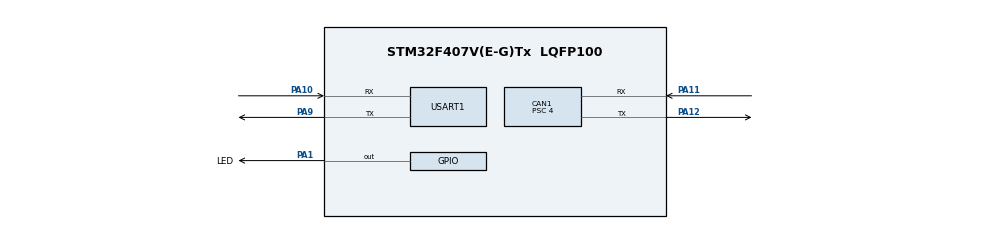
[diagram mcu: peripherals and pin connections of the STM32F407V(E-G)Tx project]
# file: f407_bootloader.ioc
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CAN1.ABOM=ENABLE
CAN1.BS1=CAN_BS1_13TQ
CAN1.BS2=CAN_BS2_2TQ
CAN1.CalculateBaudRate=500000
CAN1.CalculateTimeBit=2000
CAN1.CalculateTimeQuantum=125.0
CAN1.Prescaler=4
CAN1.TXFP=ENABLE
Dma.Request0=USART1_RX
Dma.Request1=USART1_TX
Dma.USART1_RX.0.Direction=DMA_PERIPH_TO_MEMORY
Dma.USART1_RX.0.FIFOMode=DMA_FIFOMODE_DISABLE
Dma.USART1_RX.0.Instance=DMA2_Stream2
Dma.USART1_RX.0.MemDataAlignment=DMA_MDATAALIGN_BYTE
Dma.USART1_RX.0.MemInc=DMA_MINC_ENABLE
Dma.USART1_RX.0.Mode=DMA_NORMAL
Dma.USART1_RX.0.PeriphDataAlignment=DMA_PDATAALIGN_BYTE
Dma.USART1_RX.0.PeriphInc=DMA_PINC_DISABLE
Dma.USART1_RX.0.Priority=DMA_PRIORITY_LOW
Dma.USART1_TX.1.Direction=DMA_MEMORY_TO_PERIPH
Dma.USART1_TX.1.FIFOMode=DMA_FIFOMODE_DISABLE
Dma.USART1_TX.1.Instance=DMA2_Stream7
Dma.USART1_TX.1.MemDataAlignment=DMA_MDATAALIGN_BYTE
Dma.USART1_TX.1.MemInc=DMA_MINC_ENABLE
Dma.USART1_TX.1.Mode=DMA_NORMAL
Dma.USART1_TX.1.PeriphDataAlignment=DMA_PDATAALIGN_BYTE
Dma.USART1_TX.1.PeriphInc=DMA_PINC_DISABLE
Dma.USART1_TX.1.Priority=DMA_PRIORITY_LOW
FREERTOS.BinarySemaphores01=xSharedDataMutex,Dynamic,NULL
FREERTOS.HEAP_NUMBER=3
FREERTOS.Queues01=xCAN1RxQueue,10,CanMsg,0,Dynamic,NULL,NULL;xUsartDbgTxQueue,5,char,0,Dynamic,NULL,NULL
FREERTOS.Tasks01=CAN1RxTask,0,512,StartCAN1RxTask,Default,pSharedInterface,Dynamic,NULL,NULL;UsartDbgTxTask,-3,256,StartUsartDbgTxTask,Default,pSharedInterface,Dynamic,NULL,NULL
FREERTOS.configUSE_NEWLIB_REENTRANT=1
Mcu.Family=STM32F4
Mcu.Name=STM32F407V(E-G)Tx
Mcu.Package=LQFP100
NVIC.CAN1_RX0_IRQn=true\:5\:0\:false\:false\:true\:true\:true\:true\:true
NVIC.CAN1_SCE_IRQn=true\:5\:0\:false\:false\:true\:true\:true\:true\:true
NVIC.DMA2_Stream2_IRQn=true\:5\:0\:false\:false\:true\:true\:false\:true\:true
NVIC.DMA2_Stream7_IRQn=true\:5\:0\:false\:false\:true\:true\:false\:true\:true
NVIC.PriorityGroup=NVIC_PRIORITYGROUP_4
NVIC.TIM5_IRQn=true\:15\:0\:false\:false\:true\:false\:false\:true\:true
NVIC.TimeBase=TIM5_IRQn
NVIC.TimeBaseIP=TIM5
NVIC.USART1_IRQn=true\:5\:0\:false\:false\:true\:true\:true\:true\:true
PA1.GPIO_Label=LED
PA1.Signal=GPIO_Output
PA10.Mode=Asynchronous
PA10.Signal=USART1_RX
PA11.Mode=CAN_Activate
PA11.Signal=CAN1_RX
PA12.Mode=CAN_Activate
PA12.Signal=CAN1_TX
PA13.Mode=Serial_Wire
PA13.Signal=SYS_JTMS-SWDIO
PA14.Mode=Serial_Wire
PA14.Signal=SYS_JTCK-SWCLK
PA9.Mode=Asynchronous
PA9.Signal=USART1_TX
ProjectManager.HeapSize=0x200
ProjectManager.StackSize=0x400
ProjectManager.TargetToolchain=STM32CubeIDE
RCC.48MHZClocksFreq_Value=64000000
RCC.AHBFreq_Value=128000000
RCC.APB1CLKDivider=RCC_HCLK_DIV4
RCC.APB1Freq_Value=32000000
RCC.APB1TimFreq_Value=64000000
RCC.APB2CLKDivider=RCC_HCLK_DIV2
RCC.APB2Freq_Value=64000000
RCC.APB2TimFreq_Value=128000000
RCC.CortexFreq_Value=128000000
RCC.HCLKFreq_Value=128000000
RCC.HSE_VALUE=8000000
RCC.HSI_VALUE=16000000
RCC.LSE_VALUE=32768
RCC.PLLM=8
RCC.PLLN=128
RCC.SYSCLKFreq_VALUE=128000000
RCC.SYSCLKSource=RCC_SYSCLKSOURCE_PLLCLK
RCC.VCOOutputFreq_Value=256000000
USART1.VirtualMode=VM_ASYNC
VP_FREERTOS_VS_CMSIS_V1.Mode=CMSIS_V1
VP_SYS_VS_tim5.Mode=TIM5
board=custom

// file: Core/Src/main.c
/* USER CODE BEGIN Header */
/**
  ******************************************************************************
  * @file           : main.c
  * @brief          : Main program body
  ******************************************************************************
  * @attention
  *
  * Copyright (c) 2024 STMicroelectronics.
  * All rights reserved.
  *
  * This software is licensed under terms that can be found in the LICENSE file
  * in the root directory of this software component.
  * If no LICENSE file comes with this software, it is provided AS-IS.
  *
  ******************************************************************************
  */
/* USER CODE END Header */
#include "main.h"
#include "cmsis_os.h"
#include "can.h"
#include "dma.h"
#include "usart.h"
#include "gpio.h"

/* USER CODE BEGIN PV */
SharedData sharedData;
/* USER CODE END PV */

void SystemClock_Config(void);
void MX_FREERTOS_Init(void);

int main(void)
{

  /* USER CODE BEGIN 1 */
    __disable_irq();
    SCB->VTOR = FLASH_BOOTLOADER_START_ADDR;
    __set_MSP(*((volatile uint32_t*) FLASH_BOOTLOADER_START_ADDR));
    __set_PSP(*((volatile uint32_t*) FLASH_BOOTLOADER_START_ADDR));
    __enable_irq();
  /* USER CODE END 1 */

  /* MCU Configuration--------------------------------------------------------*/

  /* Reset of all peripherals, Initializes the Flash interface and the Systick. */
  HAL_Init();

  /* Configure the system clock */
  SystemClock_Config();

  /* Initialize all configured peripherals */
  MX_GPIO_Init();
  MX_DMA_Init();
  MX_USART1_UART_Init();
  MX_CAN1_Init();

  /* Call init function for freertos objects (in cmsis_os2.c) */
  MX_FREERTOS_Init();

  /* Start scheduler */
  osKernelStart();

  /* We should never get here as control is now taken by the scheduler */

  /* Infinite loop */
  while (1)
  {

  }
}

void SystemClock_Config(void)
{
  LL_FLASH_SetLatency(LL_FLASH_LATENCY_4);
  while(LL_FLASH_GetLatency()!= LL_FLASH_LATENCY_4)
  {
  }
  LL_PWR_SetRegulVoltageScaling(LL_PWR_REGU_VOLTAGE_SCALE1);
  LL_RCC_HSI_SetCalibTrimming(16);
  LL_RCC_HSI_Enable();

   /* Wait till HSI is ready */
  while(LL_RCC_HSI_IsReady() != 1)
  {

  }
  LL_RCC_PLL_ConfigDomain_SYS(LL_RCC_PLLSOURCE_HSI, LL_RCC_PLLM_DIV_8, 128, LL_RCC_PLLP_DIV_2);
  LL_RCC_PLL_Enable();

   /* Wait till PLL is ready */
  while(LL_RCC_PLL_IsReady() != 1)
  {

  }
  while (LL_PWR_IsActiveFlag_VOS() == 0)
  {
  }
  LL_RCC_SetAHBPrescaler(LL_RCC_SYSCLK_DIV_1);
  LL_RCC_SetAPB1Prescaler(LL_RCC_APB1_DIV_4);
  LL_RCC_SetAPB2Prescaler(LL_RCC_APB2_DIV_2);
  LL_RCC_SetSysClkSource(LL_RCC_SYS_CLKSOURCE_PLL);

   /* Wait till System clock is ready */
  while(LL_RCC_GetSysClkSource() != LL_RCC_SYS_CLKSOURCE_STATUS_PLL)
  {

  }
  LL_SetSystemCoreClock(128000000);

   /* Update the time base */
  if (HAL_InitTick (TICK_INT_PRIORITY) != HAL_OK)
  {
    Error_Handler();
  }
}

void HAL_TIM_PeriodElapsedCallback(TIM_HandleTypeDef *htim)
{
  if (htim->Instance == TIM5) {
    HAL_IncTick();
  }
}

void Error_Handler(void)
{
  __disable_irq();
  while (1)
  {
  }
}

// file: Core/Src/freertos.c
/* USER CODE BEGIN Header */
/**
 ******************************************************************************
 * File Name          : freertos.c
 * Description        : Code for freertos applications
 ******************************************************************************
 * @attention
 *
 * Copyright (c) 2024 STMicroelectronics.
 * All rights reserved.
 *
 * This software is licensed under terms that can be found in the LICENSE file
 * in the root directory of this software component.
 * If no LICENSE file comes with this software, it is provided AS-IS.
 *
 ******************************************************************************
 */
/* USER CODE END Header */

#include "FreeRTOS.h"
#include "task.h"
#include "main.h"
#include "cmsis_os.h"

/* USER CODE BEGIN Includes */
#include "can.h"
#include "usart.h"
/* USER CODE END Includes */

/* USER CODE BEGIN PTD */
#define FREERTOS_CAN_RX_TASK_DELAY_MS 		10
#define FREERTOS_USART_DBG_TX_TASK_DELAY_MS 100

#define LOG_ENABLE 0
#define STATUS_LED 1

static uint8_t pUpdatePageBuf[PAGE_SIZE_IN_BYTES] __attribute__ ((aligned (1)));
static uint16_t pCrcBuf[FLASH_TIMESTAMP_PAGE] __attribute__ ((aligned (1)));
/* USER CODE END PTD */

osThreadId CAN1RxTaskHandle;
osThreadId UsartDbgTxTaskHandle;
osMessageQId xCAN1RxQueueHandle;
osMessageQId xUsartDbgTxQueueHandle;
osSemaphoreId xSharedDataMutexHandle;

void StartCAN1RxTask(void const * argument);
void StartUsartDbgTxTask(void const * argument);

void MX_FREERTOS_Init(void); /* (MISRA C 2004 rule 8.1) */

/* GetIdleTaskMemory prototype (linked to static allocation support) */
void vApplicationGetIdleTaskMemory( StaticTask_t **ppxIdleTaskTCBBuffer, StackType_t **ppxIdleTaskStackBuffer, uint32_t *pulIdleTaskStackSize );

/* USER CODE BEGIN GET_IDLE_TASK_MEMORY */
static StaticTask_t xIdleTaskTCBBuffer;
static StackType_t xIdleStack[configMINIMAL_STACK_SIZE];

void vApplicationGetIdleTaskMemory(StaticTask_t **ppxIdleTaskTCBBuffer, StackType_t **ppxIdleTaskStackBuffer, uint32_t *pulIdleTaskStackSize)
{
    *ppxIdleTaskTCBBuffer = &xIdleTaskTCBBuffer;
    *ppxIdleTaskStackBuffer = &xIdleStack[0];
    *pulIdleTaskStackSize = configMINIMAL_STACK_SIZE;
    /* place for user code */
}
/* USER CODE END GET_IDLE_TASK_MEMORY */

void MX_FREERTOS_Init(void) {

  /* Create the semaphores(s) */
  /* definition and creation of xSharedDataMutex */
  osSemaphoreDef(xSharedDataMutex);
  xSharedDataMutexHandle = osSemaphoreCreate(osSemaphore(xSharedDataMutex), 1);

  /* Create the queue(s) */
  /* definition and creation of xCAN1RxQueue */
  osMessageQDef(xCAN1RxQueue, 10, CanMsg);
  xCAN1RxQueueHandle = osMessageCreate(osMessageQ(xCAN1RxQueue), NULL);

  /* definition and creation of xUsartDbgTxQueue */
  osMessageQDef(xUsartDbgTxQueue, 5, char);
  xUsartDbgTxQueueHandle = osMessageCreate(osMessageQ(xUsartDbgTxQueue), NULL);

  /* USER CODE BEGIN RTOS_QUEUES */
    /* add queues, ... */
    SharedInterface *pSharedInterface = (SharedInterface*) calloc(1, sizeof(SharedInterface));
    // ToDo: add separate instances
    pSharedInterface->pCanRxQueue = &xCAN1RxQueueHandle;
    pSharedInterface->pUsartDbgTxQueue = &xUsartDbgTxQueueHandle;
    pSharedInterface->pDataMutex = &xSharedDataMutexHandle;
    pSharedInterface->pData = &sharedData;
  /* USER CODE END RTOS_QUEUES */

  /* Create the thread(s) */
  /* definition and creation of CAN1RxTask */
  osThreadDef(CAN1RxTask, StartCAN1RxTask, osPriorityNormal, 0, 512);
  CAN1RxTaskHandle = osThreadCreate(osThread(CAN1RxTask), (void*) pSharedInterface);

  /* definition and creation of UsartDbgTxTask */
  osThreadDef(UsartDbgTxTask, StartUsartDbgTxTask, osPriorityIdle, 0, 256);
  UsartDbgTxTaskHandle = osThreadCreate(osThread(UsartDbgTxTask), (void*) pSharedInterface);

  /* USER CODE BEGIN RTOS_THREADS */
#if LOG_ENABLE
  Common_PlaceLogMessage("INF", "F407 Bootloader is starting", strlen("INF") + strlen("F407 Bootloader is starting"), &xUsartDbgTxQueueHandle);
#endif
    /* add threads, ... */
  /* USER CODE END RTOS_THREADS */

}

/* USER CODE BEGIN Header_StartCAN1RxTask */
/**
 * @brief Function implementing the CAN1RxTask thread.
 * @param argument: Not used
 * @retval None
 */
static int CAN1Task_CmdHandler(SharedInterface *pSharedInterface, CanMsg *pCurrentMsg, BootloaderCommands *pCommand)
{
    static uint8_t page = 0;        // Reset on START & END Events
    static int index = 0;

    int status = -1;
    if (pSharedInterface == NULL || pCurrentMsg == NULL)
    {
        return status;
    }

    // Handler
    if (pCurrentMsg->id == pCommand->chunkId)
    {
        // 4. Copy 8 bytes to buffer
        if (index < PAGE_SIZE_IN_BYTES)
        {
            memcpy(&pUpdatePageBuf[index], pCurrentMsg->data, pCurrentMsg->dlc);
            index += pCurrentMsg->dlc;
        }
    }
    else if (pCurrentMsg->id == pCommand->eraseId)
    {
        // Erase if currentPage is 0
        if (!gIsErased)
        {
            status = Flash_EraseApp();
            if (status != FLASH_OK)
            {
                gIsCorrupted = 1;
            }
            else
            {
                gIsErased = 1;
                page = 0;
                index = 0;
                memset(pCrcBuf, 0xFFFF, sizeof(pCrcBuf));
            }
        }

        // 1. Prepare Can Response Message with confirmation
        uint8_t txData[8] = { FLASH_CRC_PAGE, 0, 0, 0, 0, 0, 0, 0 };
        CAN_TxHeaderTypeDef txHeader = { .StdId = pCommand->eraseAckId,
                                         .ExtId = 0,
                                         .RTR = CAN_RTR_DATA,
                                         .IDE = CAN_ID_STD,
                                         .DLC = 1,
                                         .TransmitGlobalTime = 0 };

        // 2. Send message
        if (HAL_CAN_AddTxMessage(pSharedInterface->pCanHandler, &txHeader, txData, &TxMailboxCan1) != HAL_OK)
        {
        }

        // 3. Place Log
#if LOG_ENABLE
        Common_PlaceLogMessage("INF", "App is erased", strlen("INF") + strlen("App is erased"), &xUsartDbgTxQueueHandle);
#endif
    }
    else if(pCurrentMsg->id == pCommand->crcId)
    {
        // 1. Prepare Can Response Message with confirmation
        uint8_t txData[8] = { 0 };
        CAN_TxHeaderTypeDef txHeader = { .StdId = pCommand->crcAckId,
                                         .ExtId = 0, .RTR = CAN_RTR_DATA,
                                         .IDE = CAN_ID_STD,
                                         .DLC = pCurrentMsg->dlc,
                                         .TransmitGlobalTime = 0 };

        // 2. Calculate CRC of pUpdatePageBuf
        uint16_t crcOfPage = Common_Crc16(pUpdatePageBuf, index);
        pCrcBuf[page] = crcOfPage; // save for later
        txData[0] = (uint8_t)(crcOfPage & 0xFF);
        txData[1] = (uint8_t)((crcOfPage >> 8) & 0xFF);

        // 3. Flash if CRC matched
        if (pCurrentMsg->data[0] == txData[0] && pCurrentMsg->data[1] == txData[1] && !gIsCorrupted)
        {
            status = Flash_UpdateChunk(pUpdatePageBuf, PAGE_SIZE_IN_BYTES, page);
            if (status != FLASH_OK)
            {
                gIsCorrupted = 1;
            }
            else
            {
                page++;
                index = 0;
                memset(pUpdatePageBuf, 0xFF, sizeof(pUpdatePageBuf));

                HAL_GPIO_TogglePin(LED_GPIO_Port, LED_Pin);

                // Place Log
#if LOG_ENABLE
                char pMessage[128] = {0};
                snprintf(&pMessage[strlen(pMessage)], sizeof(pMessage), "%d", page - 1);
                strncat(pMessage, " page is programmed", sizeof(pMessage));
                Common_PlaceLogMessage("INF", pMessage, strlen("INF") + strlen(pMessage), pSharedInterface->pUsartDbgTxQueue);
#endif
            }
        }

        // 4. Send message
        if (HAL_CAN_AddTxMessage(pSharedInterface->pCanHandler, &txHeader, txData, &TxMailboxCan1) != HAL_OK)
        {
        }
    }
    else if(pCurrentMsg->id == pCommand->timestampId)
    {
        // 1. Prepare Can Response Message with confirmation
        uint8_t txData[8] = { 0 };
        CAN_TxHeaderTypeDef txHeader = { .StdId = pCommand->timestampAckId,
                                         .ExtId = 0,
                                         .RTR = CAN_RTR_DATA,
                                         .IDE = CAN_ID_STD,
                                         .DLC = pCurrentMsg->dlc,
                                         .TransmitGlobalTime = 0 };

        // 2. Read timestamp from mem
        uint32_t timeStampDword = 0;
        uint8_t index = pCurrentMsg->data[0];
        status = Flash_Read(FLASH_VASR_START_ADDR - FLASH_USER_START_ADDR + index * 4, &timeStampDword);

        // 3. Prepare message
        txData[0] = index;
        txData[1] = (uint8_t) (timeStampDword & 0xFF);
        txData[2] = (uint8_t) ((timeStampDword >> 8) & 0xFF);
        txData[3] = (uint8_t) ((timeStampDword >> 16) & 0xFF);
        txData[4] = (uint8_t) ((timeStampDword >> 24) & 0xFF);

        // 4. Send message
        if (HAL_CAN_AddTxMessage(pSharedInterface->pCanHandler, &txHeader, txData, &TxMailboxCan1) != HAL_OK)
        {
        }
    }
    else if(pCurrentMsg->id == CAN_ID_APP_SWITCH)
    {
        // Jump to App
        if (pCurrentMsg->data[0] == pCommand->boardId &&
        	pCurrentMsg->data[1] == CAN_ID_APP_SWITCH_MAIN)
        {
            // Verify CRC
            status = Flash_ProcessAppCrc(FLASH_TIMESTAMP_PAGE, pCrcBuf, FLASH_VERIFY_CRC);
            if (status == FLASH_OK)
            {
                // Save CRC to last page
                status = Flash_UpdateChunk((uint8_t*) pCrcBuf, sizeof(pCrcBuf), FLASH_CRC_PAGE);

#if LOG_ENABLE
                char pMessage[512] = {0};
                strncat(pMessage, "Save CRC to last page: ", sizeof(pMessage));
                for (int i = 0; i < FLASH_TIMESTAMP_PAGE; i++)
                {
                    snprintf(&pMessage[strlen(pMessage)], sizeof(pMessage), "%04X ", pCrcBuf[i]);
                }
                Common_PlaceLogMessage("INF", pMessage, strlen("INF") + strlen(pMessage), pSharedInterface->pUsartDbgTxQueue);
                vTaskDelay(FLASH_COUNTDOWN_TO_START_MS);
#endif
                if (status == FLASH_OK)
                {
                    // We received new FW, so we need to jump from bootloader to main application
                    Flash_JumpToApp(FLASH_FW_START_ADDR);
                }
                else
                {
                    NVIC_SystemReset();
                }
            }
        }
        // Reset to bootloader
        else if (pCurrentMsg->data[0] == pCommand->boardId &&
        		 pCurrentMsg->data[1] == CAN_ID_APP_SWITCH_BOOTLOADER)
        {
            NVIC_SystemReset();
        }
    }
    return status;
}
/* USER CODE END Header_StartCAN1RxTask */
void StartCAN1RxTask(void const * argument)
{
  /* USER CODE BEGIN StartCAN1RxTask */
    if (argument == NULL)
    {
        vTaskDelete(CAN1RxTaskHandle);
    }
    SharedInterface *pSharedInterface = (SharedInterface*) argument;
    /* Infinite loop */
    uint32_t countToStart = 0;

    // Here you can create a set of RX Commands for different boards in your project
    BootloaderCommands commandList = {0};
    commandList.boardId = CAN_ID_APP_F407_BOARD_CODE;
    commandList.timestampId = CAN_ID_UPDATE_F407_BOARD_TIMESTAMP;
    commandList.timestampAckId = CAN_ID_UPDATE_F407_BOARD_TIMESTAMP_ACK;
    commandList.eraseId = CAN_ID_UPDATE_F407_BOARD_ERASE;
    commandList.eraseAckId = CAN_ID_UPDATE_F407_BOARD_ERASE_ACK;
    commandList.crcId = CAN_ID_UPDATE_F407_BOARD_CRC;
    commandList.crcAckId = CAN_ID_UPDATE_F407_BOARD_CRC_ACK;
    commandList.chunkId = CAN_ID_UPDATE_F407_BOARD_CHUNK;

    pSharedInterface->pCanHandler = &hcan1;
    pSharedInterface->pCanMailbox = &TxMailboxCan1;
    HAL_CAN_Start(pSharedInterface->pCanHandler);
    HAL_CAN_ActivateNotification(pSharedInterface->pCanHandler, CAN_IT_RX_FIFO0_MSG_PENDING | CAN_IT_ERROR | CAN_IT_BUSOFF | CAN_IT_LAST_ERROR_CODE);

    for (;;)
    {
        // 1. Check if we have FW to boot
        if (countToStart > FLASH_COUNTDOWN_TO_START_MS && !gIsErased && !gIsCorrupted)
        {
            if (Flash_CheckFwPresented() == FLASH_OK)
            {
                char pStrFromMem[256] = { 0 };
                if (Flash_ReadStringFromMem(pStrFromMem, sizeof(pStrFromMem), (FLASH_CRC_START_ADDR - FLASH_USER_START_ADDR)) == FLASH_OK)
                {
                    if (Flash_ProcessAppCrc(FLASH_TIMESTAMP_PAGE, (uint16_t*) pStrFromMem, FLASH_VERIFY_CRC) == FLASH_OK)
                    {
                        // Read timestamp
                        memset(pStrFromMem, 0, sizeof(pStrFromMem));
                        Flash_ReadStringFromMem(pStrFromMem, sizeof(pStrFromMem), FLASH_VASR_START_ADDR - FLASH_USER_START_ADDR);

                        // Place Log
#if LOG_ENABLE
                        char pMessage[128] = {0};
                        strncat(pMessage, "Found App to boot, timestamp: ", sizeof(pMessage));
                        strncat(pMessage, pStrFromMem, 128);
                        Common_PlaceLogMessage("INF", pMessage, strlen("INF") + strlen(pMessage), pSharedInterface->pUsartDbgTxQueue);
                        vTaskDelay(FLASH_COUNTDOWN_TO_START_MS);
#endif
                        Flash_JumpToApp(FLASH_FW_START_ADDR);
                    }
#if LOG_ENABLE
                    else
                    {
                        // Place Log
                        char pMessage[128] = {0};
                        Common_PlaceLogMessage("INF", "Found App, but CRC is corrupted", strlen("INF") + strlen("Found App, but CRC is corrupted"), pSharedInterface->pUsartDbgTxQueue);
                    }
#endif
                }
            }
#if LOG_ENABLE
            else
            {
                // Place Log
                Common_PlaceLogMessage("INF", "App Sector is Empty or Corrupted", strlen("INF") + strlen("App Sector is Empty or Corrupted"), pSharedInterface->pUsartDbgTxQueue);
            }
#endif
            countToStart = 0;
        }
        else
        {
            countToStart++;
#if LOG_ENABLE
            if (countToStart % 100 == 0 && !gIsErased && !gIsCorrupted)
            {
                char pMessage[128] = {0};
                strncat(pMessage, "Seconds passed before boot: ", sizeof(pMessage));
                snprintf(&pMessage[strlen(pMessage)], sizeof(pMessage), "%d", countToStart/100);
                Common_PlaceLogMessage("INF", pMessage, strlen("INF") + strlen(pMessage), pSharedInterface->pUsartDbgTxQueue);
            }
#endif
#if STATUS_LED
            // ToDo: refactor
            if (countToStart % 20 == 0)
            {
                HAL_GPIO_TogglePin(LED_GPIO_Port, LED_Pin);
            }
#endif
        }

        // 2. Handle CAN messages
        CanMsg currentMsg = { 0, 0, { 0 } };
        if (HAL_CAN_GetTxMailboxesFreeLevel(pSharedInterface->pCanHandler) == 0)
        {
            osDelay(FREERTOS_CAN_RX_TASK_DELAY_MS);
        }
        else
        {
            if (xQueueReceive(*pSharedInterface->pCanRxQueue, &currentMsg, (TickType_t) 0))
            {
                CAN1Task_CmdHandler(pSharedInterface, &currentMsg, &commandList);
            }
            else
            {
                osDelay(FREERTOS_CAN_RX_TASK_DELAY_MS);
            }
        }
    }
  /* USER CODE END StartCAN1RxTask */
}

void StartUsartDbgTxTask(void const * argument)
{
  /* USER CODE BEGIN StartUsartDbgTxTask */
    if (argument == NULL)
    {
        vTaskDelete(UsartDbgTxTaskHandle);
    }
    SharedInterface *pSharedInterface = (SharedInterface*) argument;
  /* Infinite loop */
    for(;;)
    {
        osDelay(FREERTOS_USART_DBG_TX_TASK_DELAY_MS);
    }
  /* USER CODE END StartUsartDbgTxTask */
}
